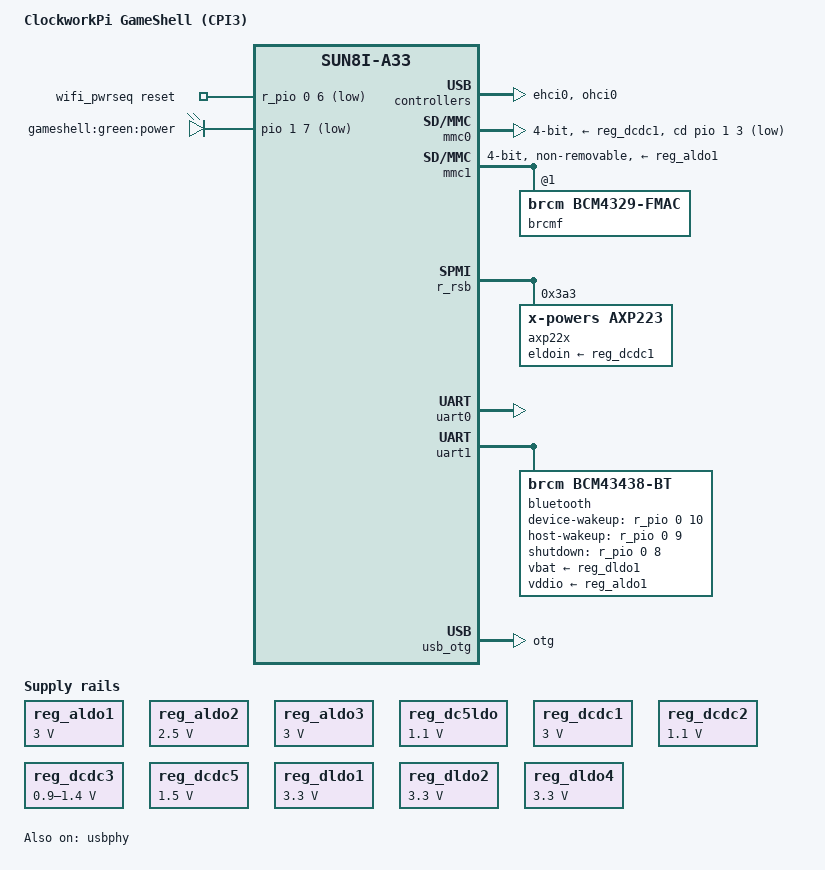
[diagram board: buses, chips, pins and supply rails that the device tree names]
// SPDX-License-Identifier: (GPL-2.0+ OR MIT)
/*
 * ClockworkPi GameShell main board (CPI3: Allwinner R16, AXP223, AP6212
 * Wi-Fi/Bluetooth) for a mainline kernel, as PSPExp uses it: the PSP is the
 * screen, speaker and controller, so the GameShell's LCD, keypad and audio
 * amplifier are left out. Derived from the board's own ClockworkOS device
 * tree (pins and supplies) and laid out like sun8i-r16-bananapi-m2m.dts,
 * whose Wi-Fi, PMIC and USB OTG wiring it shares.
 */

/dts-v1/;
#include "sun8i-a33.dtsi"

#include <dt-bindings/gpio/gpio.h>

/ {
	model = "ClockworkPi GameShell (CPI3)";
	compatible = "clockwork,clockworkpi-cpi3", "allwinner,sun8i-r16", "allwinner,sun8i-a33";

	aliases {
		serial0 = &uart0;
		serial1 = &uart1;
	};

	chosen {
		stdout-path = "serial0:115200n8";
	};

	wifi_pwrseq: pwrseq {
		compatible = "mmc-pwrseq-simple";
		reset-gpios = <&r_pio 0 6 GPIO_ACTIVE_LOW>; /* PL6 */
		clocks = <&rtc CLK_OSC32K_FANOUT>;
		clock-names = "ext_clock";
	};

	/* the green LED on the board: on while the GameShell runs (the orange
	 * one is the power chip's charge LED) */
	leds {
		compatible = "gpio-leds";

		led-power {
			label = "gameshell:green:power";
			gpios = <&pio 1 7 GPIO_ACTIVE_LOW>; /* PB7 */
			default-state = "on";
		};
	};
};

&cpu0 {
	cpu-supply = <&reg_dcdc3>;
};

&ehci0 {
	status = "okay";
};

&ohci0 {
	status = "okay";
};

/* the microSD card */
&mmc0 {
	pinctrl-names = "default";
	pinctrl-0 = <&mmc0_pins>;
	vmmc-supply = <&reg_dcdc1>;
	bus-width = <4>;
	cd-gpios = <&pio 1 3 GPIO_ACTIVE_LOW>; /* PB3 */
	status = "okay";
};

/* the AP6212 Wi-Fi (BCM43430 over SDIO) */
&mmc1 {
	pinctrl-names = "default";
	pinctrl-0 = <&mmc1_pg_pins>;
	vmmc-supply = <&reg_aldo1>;
	mmc-pwrseq = <&wifi_pwrseq>;
	bus-width = <4>;
	non-removable;
	status = "okay";

	brcmf: wifi@1 {
		reg = <1>;
		compatible = "brcm,bcm4329-fmac";
	};
};

&r_rsb {
	status = "okay";

	axp22x: pmic@3a3 {
		compatible = "x-powers,axp223";
		reg = <0x3a3>;
		interrupt-parent = <&r_intc>;
		interrupts = <GIC_SPI 32 IRQ_TYPE_LEVEL_LOW>;
		eldoin-supply = <&reg_dcdc1>;
		x-powers,drive-vbus-en;
	};
};

#include "axp223.dtsi"

&battery_power_supply {
	status = "okay";
};

&reg_aldo1 {
	regulator-always-on;
	regulator-min-microvolt = <3000000>;
	regulator-max-microvolt = <3000000>;
	regulator-name = "vcc-io";
};

&reg_aldo2 {
	regulator-always-on;
	regulator-min-microvolt = <2500000>;
	regulator-max-microvolt = <2500000>;
	regulator-name = "vdd-dll";
};

&reg_aldo3 {
	regulator-always-on;
	regulator-min-microvolt = <3000000>;
	regulator-max-microvolt = <3000000>;
	regulator-name = "vcc-pll-avcc";
};

&reg_dc5ldo {
	regulator-always-on;
	regulator-min-microvolt = <1100000>;
	regulator-max-microvolt = <1100000>;
	regulator-name = "vdd-cpus";
};

&reg_dcdc1 {
	regulator-always-on;
	regulator-min-microvolt = <3000000>;
	regulator-max-microvolt = <3000000>;
	regulator-name = "vcc-3v0";
};

&reg_dcdc2 {
	regulator-always-on;
	regulator-min-microvolt = <1100000>;
	regulator-max-microvolt = <1100000>;
	regulator-name = "vdd-sys";
};

/* ClockworkOS runs the CPU at a fixed 1.2 V; the OPP table may scale it */
&reg_dcdc3 {
	regulator-always-on;
	regulator-min-microvolt = <900000>;
	regulator-max-microvolt = <1400000>;
	regulator-name = "vdd-cpu";
};

&reg_dcdc5 {
	regulator-always-on;
	regulator-min-microvolt = <1500000>;
	regulator-max-microvolt = <1500000>;
	regulator-name = "vcc-dram";
};

/* the Wi-Fi module's three supplies stay on, as on ClockworkOS */
&reg_dldo1 {
	regulator-always-on;
	regulator-min-microvolt = <3300000>;
	regulator-max-microvolt = <3300000>;
	regulator-name = "vcc-wifi0";
};

&reg_dldo2 {
	regulator-always-on;
	regulator-min-microvolt = <3300000>;
	regulator-max-microvolt = <3300000>;
	regulator-name = "vcc-wifi1";
};

&reg_dldo4 {
	regulator-always-on;
	regulator-min-microvolt = <3300000>;
	regulator-max-microvolt = <3300000>;
	regulator-name = "vcc-wifi2";
};

&reg_drivevbus {
	regulator-name = "usb0-vbus";
	status = "okay";
};

&reg_rtc_ldo {
	regulator-name = "vcc-rtc";
};

/* serial console on PB0/PB1 (test pads), 115200 8N1 */
&uart0 {
	pinctrl-names = "default";
	pinctrl-0 = <&uart0_pb_pins>;
	status = "okay";
};

/* the AP6212's Bluetooth side, wired as on the Banana Pi M2M (ClockworkOS drives
 * the same PL8 and PL10); its firmware: brcm/BCM4343A0.hcd */
&uart1 {
	pinctrl-names = "default";
	pinctrl-0 = <&uart1_pg_pins>, <&uart1_cts_rts_pg_pins>;
	uart-has-rtscts;
	status = "okay";

	bluetooth {
		compatible = "brcm,bcm43438-bt";
		clocks = <&rtc CLK_OSC32K_FANOUT>;
		clock-names = "lpo";
		vbat-supply = <&reg_dldo1>;
		vddio-supply = <&reg_aldo1>;
		device-wakeup-gpios = <&r_pio 0 10 GPIO_ACTIVE_HIGH>; /* PL10 */
		host-wakeup-gpios = <&r_pio 0 9 GPIO_ACTIVE_HIGH>; /* PL9 */
		shutdown-gpios = <&r_pio 0 8 GPIO_ACTIVE_HIGH>; /* PL8 */
	};
};

/* the one micro-USB port: host for the PSP (OTG adapter, ID pin PL4),
 * device (USB network) when plugged into a computer */
&usb_otg {
	dr_mode = "otg";
	status = "okay";
};

&usb_power_supply {
	status = "okay";
};

&usbphy {
	usb0_id_det-gpios = <&r_pio 0 4 (GPIO_ACTIVE_HIGH | GPIO_PULL_UP)>; /* PL4 */
	usb0_vbus_power-supply = <&usb_power_supply>;
	usb0_vbus-supply = <&reg_drivevbus>;
	status = "okay";
};
